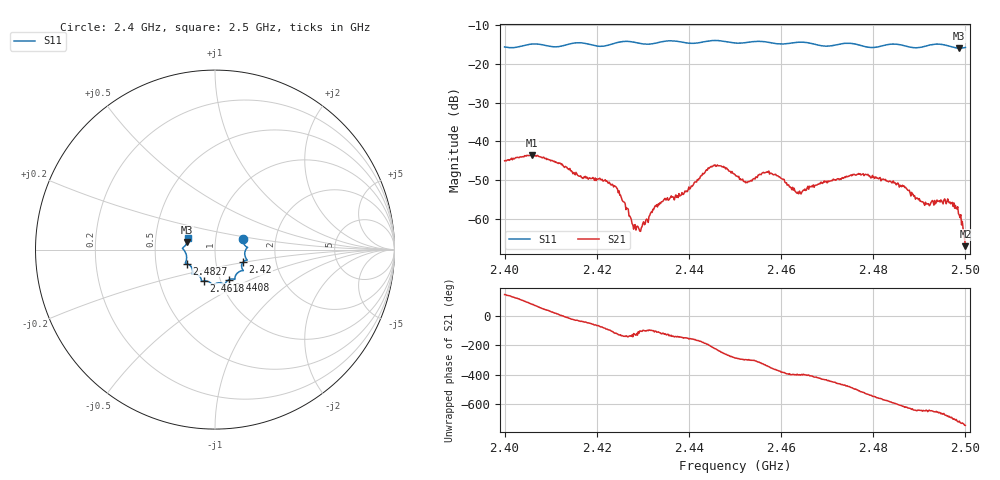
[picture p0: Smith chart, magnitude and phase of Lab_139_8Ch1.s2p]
# Hz S RI R 50
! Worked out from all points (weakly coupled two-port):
!   601 points, 2.4 GHz to 2.5 GHz, reference 50 ohm
!   highest |S21| = -43.52 dB at 2.406 GHz (marker M1); lowest = -67.1 dB at 2.5 GHz (marker M2)
!   lowest |S11| = -15.9 dB at 2.4987 GHz (marker M3), VSWR 1.38, Z = 36.5 + j3.22 ohm
!   |S11| at or under -10 dB: start of sweep to end of sweep
!   S12 and S22 are empty: the file has one direction only
!   S11 on the Smith chart (normalised r, x): 2.4 GHz: 1.35, +0.17; 2.42 GHz: 1.36, -0.19; 2.4408 GHz: 1.10, -0.38; 2.4618 GHz: 0.83, -0.30; 2.4827 GHz: 0.72, -0.12; 2.5 GHz: 0.73, +0.09
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2.4e9  0.1546 0.0617  -0.00489 0.00276  0 0  0 0
2.406e9  0.1812 0.0126  0.000867 0.00661  0 0  0 0
2.416667e9  0.1786 -0.0586  0.00287 -0.00184  0 0  0 0
2.42e9  0.1565 -0.0689  0.0015 -0.00292  0 0  0 0
2.424333e9  0.1534 -0.1106  -0.00119 -0.00219  0 0  0 0
2.429e9  0.1443 -0.1189  -0.000199 -0.000752  0 0  0 0
2.433333e9  0.1118 -0.153  -0.000416 -0.00149  0 0  0 0
2.440833e9  0.0775 -0.1684  -0.00245 -0.00107  0 0  0 0
2.445167e9  0.0538 -0.1942  -0.00399 0.00262  0 0  0 0
2.45e9  0.027 -0.1852  0.00102 0.00359  0 0  0 0
2.452667e9  0.00068 -0.1906  0.00141 0.00257  0 0  0 0
2.457333e9  -0.0193 -0.1897  0.004 0.00104  0 0  0 0
2.461833e9  -0.0614 -0.175  0.00214 -0.00142  0 0  0 0
2.463833e9  -0.0733 -0.177  0.00154 -0.00143  0 0  0 0
2.466667e9  -0.076 -0.168  0.00169 -0.00204  0 0  0 0
2.476333e9  -0.1251 -0.1295  -0.00293 -0.00221  0 0  0 0
2.482667e9  -0.158 -0.0778  -0.00256 0.00195  0 0  0 0
2.483333e9  -0.162 -0.0765  -0.00218 0.00206  0 0  0 0
2.491667e9  -0.1724 -0.0036  0.000501 0.00148  0 0  0 0
2.496667e9  -0.1682 0.0194  0.00147 0.00074  0 0  0 0
2.498667e9  -0.1545 0.0429  0.00112 -7.33e-07  0 0  0 0
2.5e9  -0.1512 0.0629  0.000382 -0.000222  0 0  0 0
